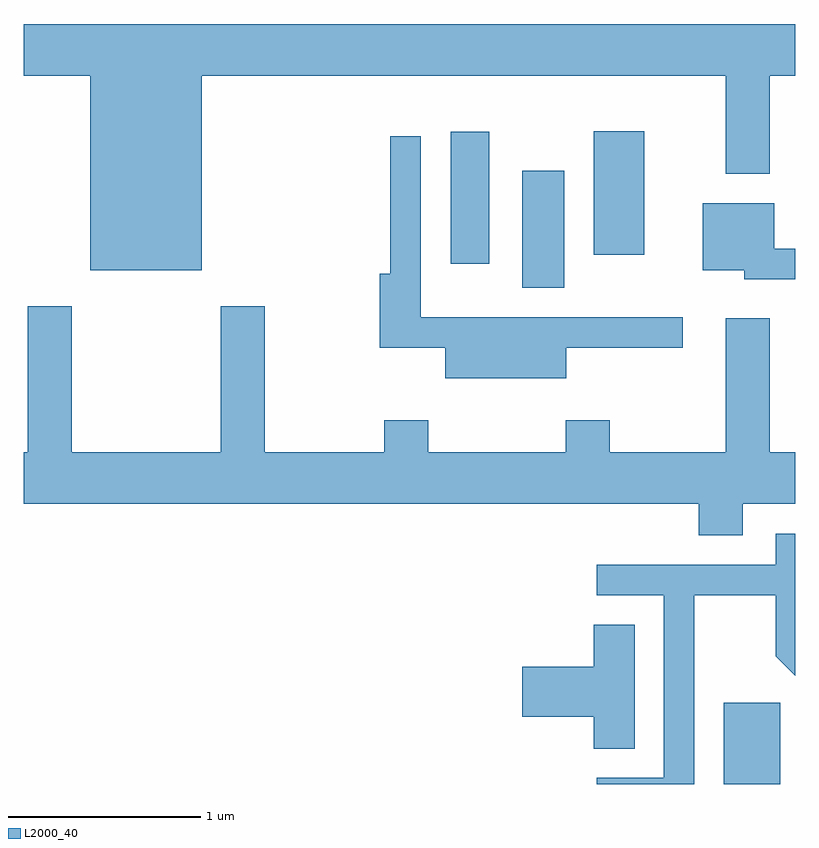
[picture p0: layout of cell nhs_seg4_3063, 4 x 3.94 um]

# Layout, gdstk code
import gdstk
lib = gdstk.Library(unit=1e-6, precision=1e-09)
def R(c, l, rs):  # rectangles x0, y0, x1, y1
    for r in rs: c.add(gdstk.rectangle(r[:2], r[2:], *l))
def P(c, l, *ps):  # polygons
    for p in ps: c.add(gdstk.Polygon(p, *l))
L2000_40 = (2000, 40)

nhs_seg4_3063 = lib.new_cell('nhs_seg4_3063')
R(nhs_seg4_3063, L2000_40, [(279.241,1259.982,279.534,1260.404), (278.196,1262.556,278.414,1263.164), (277.826,1262.681,278.024,1263.364), (278.566,1262.726,278.829,1263.369)])
P(nhs_seg4_3063, L2000_40, [(276.534,1263.656),(279.251,1263.656),(279.251,1263.146),(279.479,1263.146),(279.479,1263.656),(279.611,1263.656),(279.611,1263.924),(275.611,1263.924),(275.611,1263.656),(275.956,1263.656),(275.956,1262.646),(276.534,1262.646)],
  [(278.424,1262.246),(279.028,1262.246),(279.028,1262.404),(277.669,1262.404),(277.669,1263.343),(277.511,1263.343),(277.511,1262.629),(277.456,1262.629),(277.456,1262.246),(277.796,1262.246),(277.796,1262.086),(278.424,1262.086)],
  [(279.611,1262.759),(279.504,1262.759),(279.504,1262.994),(279.131,1262.994),(279.131,1262.646),(279.346,1262.646),(279.346,1262.601),(279.611,1262.601)],
  [(279.339,1261.436),(279.611,1261.436),(279.611,1261.704),(279.479,1261.704),(279.479,1262.399),(279.251,1262.399),(279.251,1261.704),(278.649,1261.704),(278.649,1261.869),(278.421,1261.869),(278.421,1261.704),(277.709,1261.704),(277.709,1261.869),(277.481,1261.869),(277.481,1261.704),(276.859,1261.704),(276.859,1262.459),(276.631,1262.459),(276.631,1261.704),(275.859,1261.704),(275.859,1262.459),(275.631,1262.459),(275.631,1261.704),(275.611,1261.704),(275.611,1261.436),(279.111,1261.436),(279.111,1261.271),(279.339,1261.271)],
  [(279.089,1260.961),(279.511,1260.961),(279.511,1260.644),(279.611,1260.544),(279.611,1261.279),(279.511,1261.279),(279.511,1261.119),(278.583,1261.119),(278.583,1260.961),(278.931,1260.961),(278.931,1260.014),(278.583,1260.014),(278.583,1259.982),(279.089,1259.982)],
  [(278.779,1260.809),(278.566,1260.809),(278.566,1260.589),(278.196,1260.589),(278.196,1260.331),(278.566,1260.331),(278.566,1260.166),(278.779,1260.166)])

lib.write_gds('nhs_seg4_3063.gds')
